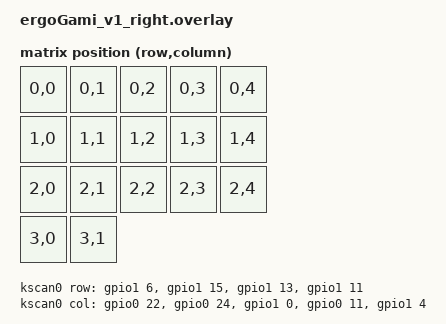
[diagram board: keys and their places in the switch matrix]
// Devicetree file
#include <dt-bindings/zmk/matrix_transform.h>

&gpio0 {
    status = "okay";  // Ensure gpio0 is enabled
};

&gpio1 {
    status = "okay";  // Ensure gpio1 is enabled
};

/ {
    chosen {
        zmk,kscan = &kscan0;
        zmk,matrix_transform = &default_transform;
    };

    // Keyboard matrix (5x4 left, 5x4 right)
    default_transform: keymap_transform_0 {
        compatible = "zmk,matrix-transform";
        columns = <5>;  // Right half: 5 cols
        rows = <4>;     // All rows
        map = <
            // Left half (18 keys)
            // Right half (17 keys) + analog (not mentioned here)
            RC(0,0) RC(0,1) RC(0,2) RC(0,3) RC(0,4) 
            RC(1,0) RC(1,1) RC(1,2) RC(1,3) RC(1,4) 
            RC(2,0) RC(2,1) RC(2,2) RC(2,3) RC(2,4) 
            RC(3,0) RC(3,1)
        >;
    };

    kscan0: kscan {
        compatible = "zmk,kscan-gpio-matrix";
        
        diode-direction = "col2row"; // Set diode direction for the matrix
            row-gpios = <
                &gpio1 6  (GPIO_ACTIVE_HIGH | GPIO_PULL_DOWN)  // Row 0 (P1.06)
                &gpio1 15 (GPIO_ACTIVE_HIGH | GPIO_PULL_DOWN)  // Row 1 (P1.15)
                &gpio1 13 (GPIO_ACTIVE_HIGH | GPIO_PULL_DOWN)  // Row 2 (P1.13)
                &gpio1 11 (GPIO_ACTIVE_HIGH | GPIO_PULL_DOWN)  // Row 3 (P1.11)
            >;

            col-gpios = <
                &gpio0 22 (GPIO_ACTIVE_HIGH | GPIO_PULL_DOWN)
                &gpio0 24 (GPIO_ACTIVE_HIGH | GPIO_PULL_DOWN)
                &gpio1 0  (GPIO_ACTIVE_HIGH | GPIO_PULL_DOWN)
                &gpio0 11 (GPIO_ACTIVE_HIGH | GPIO_PULL_DOWN)
                &gpio1 4  (GPIO_ACTIVE_HIGH | GPIO_PULL_DOWN)
            >;
    };
};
